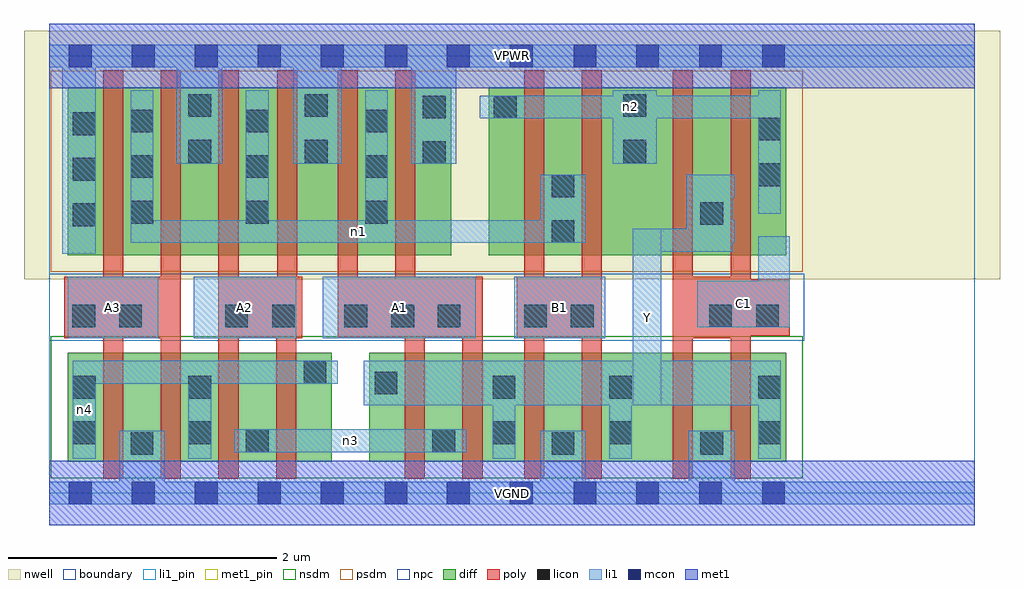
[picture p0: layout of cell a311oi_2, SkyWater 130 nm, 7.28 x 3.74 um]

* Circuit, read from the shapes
.subckt a311oi_2 A1 A2 A3 B1 C1 VGND VPWR Y n1 n2 n3 n4
XM1 VGND A3 n4 VSUBS sky130_fd_pr__nfet_01v8 w=0.81 l=0.15 m=2
XM2 n3 A2 n4 VSUBS sky130_fd_pr__nfet_01v8 w=0.81 l=0.15 m=2
XM3 n3 A1 Y VSUBS sky130_fd_pr__nfet_01v8 w=0.81 l=0.15 m=2
XM4 VGND B1 Y VSUBS sky130_fd_pr__nfet_01v8 w=0.81 l=0.15 m=2
XM5 VGND C1 Y VSUBS sky130_fd_pr__nfet_01v8 w=0.81 l=0.15 m=2
XM6 n1 A3 VPWR n5 sky130_fd_pr__pfet_01v8 w=1.25 l=0.15 m=2
XM7 n1 A2 VPWR n5 sky130_fd_pr__pfet_01v8 w=1.25 l=0.15 m=2
XM8 n1 A1 VPWR n5 sky130_fd_pr__pfet_01v8 w=1.25 l=0.15 m=2
XM9 n1 B1 n2 n5 sky130_fd_pr__pfet_01v8 w=1.25 l=0.15 m=2
XM10 Y C1 n2 n5 sky130_fd_pr__pfet_01v8 w=1.25 l=0.15 m=2
.ends

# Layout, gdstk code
import gdstk
lib = gdstk.Library(unit=1e-6, precision=1e-09)
def R(c, l, rs):  # rectangles x0, y0, x1, y1
    for r in rs: c.add(gdstk.rectangle(r[:2], r[2:], *l))
def A(c, l, x, y, w, h, nx, ny, dx, dy):  # array of equal rectangles
    R(c, l, [(x+i*dx, y+j*dy, x+i*dx+w, y+j*dy+h) for i in range(nx) for j in range(ny)])
nwell = (64, 20)
diff = (65, 20)
poly = (66, 20)
licon = (66, 44)
li1_pin = (67, 16)
li1 = (67, 20)
mcon = (67, 44)
met1_pin = (68, 16)
met1 = (68, 20)
nsdm = (93, 44)
psdm = (94, 20)
npc = (95, 20)
boundary = (235, 4)

a311oi_2 = lib.new_cell('a311oi_2')
R(a311oi_2, nwell, [(-0.19,1.595,7.09,3.45), (0,1.595,6.9,3.45)])
R(a311oi_2, diff, [(0.135,0.235,2.105,1.045), (2.385,0.235,5.495,1.045), (0.135,1.775,2.995,3.025), (3.275,1.775,5.495,3.025)])
A(a311oi_2, poly, 0.4, 0.105, 0.15, 3.05, 3, 1, 0.43, 0)
R(a311oi_2, poly, [(1.69,0.105,1.84,1.615), (2.65,0.105,2.8,1.615), (3.08,0.105,3.23,1.615), (3.54,0.105,3.69,3.155), (3.97,0.105,4.12,3.155), (4.65,0.105,4.8,3.155), (5.08,0.105,5.23,3.155), (0.11,1.155,0.98,1.615), (1.26,1.155,1.885,1.615), (1.7,1.155,1.85,3.155), (2.15,1.155,2.3,3.155), (2.15,1.155,3.23,1.615), (2.58,1.155,2.73,3.155), (3.485,1.155,4.12,1.615), (4.65,1.155,5.23,1.615), (4.65,1.175,5.52,1.595)])
A(a311oi_2, licon, 0.175, 1.99, 0.17, 0.17, 1, 3, 0, 0.34)
A(a311oi_2, licon, 0.605, 2.01, 0.17, 0.17, 1, 3, 0, 0.34)
A(a311oi_2, licon, 1.465, 2.01, 0.17, 0.17, 1, 3, 0, 0.34)
A(a311oi_2, licon, 2.355, 2.01, 0.17, 0.17, 1, 3, 0, 0.34)
R(a311oi_2, licon, [(0.605,0.285,0.775,0.455), (3.745,0.285,3.915,0.455), (4.855,0.285,5.025,0.455), (1.465,0.305,1.635,0.475), (2.855,0.305,3.025,0.475), (0.175,0.365,0.345,0.535), (1.035,0.365,1.205,0.535), (3.305,0.365,3.475,0.535), (4.175,0.365,4.345,0.535), (5.285,0.365,5.455,0.535), (0.175,0.705,0.345,0.875), (1.035,0.705,1.205,0.875), (3.305,0.705,3.475,0.875), (4.175,0.705,4.345,0.875), (5.285,0.705,5.455,0.875), (2.425,0.735,2.595,0.905), (1.895,0.815,2.065,0.985), (0.17,1.235,0.34,1.405), (0.52,1.235,0.69,1.405), (1.31,1.235,1.48,1.405), (1.66,1.235,1.83,1.405), (2.2,1.235,2.37,1.405), (2.55,1.235,2.72,1.405), (2.895,1.235,3.065,1.405), (3.54,1.235,3.71,1.405), (3.89,1.235,4.06,1.405), (4.92,1.235,5.09,1.405), (5.27,1.235,5.44,1.405), (3.745,1.865,3.915,2.035), (4.855,2,5.025,2.17), (3.745,2.205,3.915,2.375), (5.285,2.29,5.455,2.46), (2.785,2.455,2.955,2.625), (1.035,2.465,1.205,2.635), (1.905,2.465,2.075,2.635), (4.28,2.465,4.45,2.635), (5.285,2.63,5.455,2.8), (2.785,2.795,2.955,2.965), (3.315,2.795,3.485,2.965), (1.035,2.805,1.205,2.975), (1.905,2.805,2.075,2.975), (4.28,2.805,4.45,2.975)])
R(a311oi_2, li1_pin, [(4.35,0.655,4.565,1.97), (0.135,1.155,0.81,1.615), (1.075,1.155,1.84,1.615), (2.04,1.155,3.18,1.615), (3.465,1.155,4.145,1.615), (4.83,1.235,5.52,1.585)])
R(a311oi_2, li1, [(0,-0.085,6.9,0.085), (0.52,-0.085,0.86,0.465), (3.66,-0.085,4,0.465), (4.77,-0.085,5.11,0.465), (0.175,0.255,0.345,0.985), (1.035,0.255,1.205,0.985), (3.305,0.255,3.475,0.985), (4.175,0.255,4.345,0.985), (5.285,0.255,5.455,0.985), (1.38,0.305,3.11,0.475), (2.345,0.655,5.455,0.985), (4.35,0.655,4.565,1.97), (0.175,0.815,2.15,0.985), (0.135,1.155,0.81,1.615), (1.075,1.155,1.84,1.615), (2.04,1.155,3.18,1.615), (3.465,1.155,4.145,1.615), (4.83,1.235,5.52,1.585), (5.285,1.235,5.52,1.915), (0.095,1.785,0.345,3.345), (4.35,1.8,5.095,1.97), (4.755,1.8,5.095,2.375), (0.605,1.865,4,2.035), (0.605,1.865,0.775,3.005), (1.465,1.865,1.635,3.005), (2.355,1.865,2.525,3.005), (3.66,1.865,4,2.375), (4.755,1.865,5.11,2.035), (5.285,2.085,5.455,3.005), (4.755,2.205,5.11,2.375), (0.95,2.455,1.29,3.345), (1.82,2.455,2.18,3.345), (2.7,2.455,3.035,3.345), (4.2,2.455,4.53,3.005), (3.21,2.795,5.455,2.965), (0,3.175,6.9,3.345)])
A(a311oi_2, mcon, 0.145, -0.085, 0.17, 0.17, 5, 2, 0.47, 3.26)
A(a311oi_2, mcon, 4.375, -0.085, 0.17, 0.17, 3, 2, 0.47, 3.26)
R(a311oi_2, mcon, [(2.5,-0.085,2.67,0.085), (2.965,-0.085,3.135,0.085), (3.435,-0.085,3.605,0.085), (3.91,-0.085,4.08,0.085), (2.5,3.175,2.67,3.345), (2.965,3.175,3.135,3.345), (3.435,3.175,3.605,3.345), (3.91,3.175,4.08,3.345)])
R(a311oi_2, met1_pin, [(0,-0.24,6.9,0.24), (0,3.02,6.9,3.5)])
R(a311oi_2, met1, [(0,-0.24,6.9,0.24), (0,3.02,6.9,3.5)])
R(a311oi_2, nsdm, [(0.01,0.11,5.62,1.17)])
R(a311oi_2, psdm, [(0.01,1.65,5.62,3.15)])
R(a311oi_2, npc, [(0,1.135,5.63,1.635)])
R(a311oi_2, boundary, [(0,0,6.9,3.26)])
a311oi_2.add(gdstk.Label('A1', (2.61,1.385), layer=67, texttype=5))
a311oi_2.add(gdstk.Label('A2', (1.457,1.385), layer=67, texttype=5))
a311oi_2.add(gdstk.Label('A3', (0.472,1.385), layer=67, texttype=5))
a311oi_2.add(gdstk.Label('B1', (3.805,1.385), layer=67, texttype=5))
a311oi_2.add(gdstk.Label('C1', (5.175,1.41), layer=67, texttype=5))
a311oi_2.add(gdstk.Label('Y', (4.457,1.312), layer=67, texttype=5))
a311oi_2.add(gdstk.Label('n3', (2.245,0.39), layer=67, texttype=5))
a311oi_2.add(gdstk.Label('n4', (0.26,0.62), layer=67, texttype=5))
a311oi_2.add(gdstk.Label('n1', (2.302,1.95), layer=67, texttype=5))
a311oi_2.add(gdstk.Label('n2', (4.332,2.88), layer=67, texttype=5))
a311oi_2.add(gdstk.Label('VPWR', (3.45,3.26), layer=68, texttype=5))
a311oi_2.add(gdstk.Label('VGND', (3.45,0), layer=68, texttype=5))
a311oi_2.add(gdstk.Label('A1', (2.61,1.385), layer=67, texttype=16))
a311oi_2.add(gdstk.Label('A2', (1.457,1.385), layer=67, texttype=16))
a311oi_2.add(gdstk.Label('A3', (0.472,1.385), layer=67, texttype=16))
a311oi_2.add(gdstk.Label('B1', (3.805,1.385), layer=67, texttype=16))
a311oi_2.add(gdstk.Label('C1', (5.175,1.41), layer=67, texttype=16))
a311oi_2.add(gdstk.Label('Y', (4.457,1.312), layer=67, texttype=16))
a311oi_2.add(gdstk.Label('VPWR', (3.45,3.26), layer=68, texttype=16))
a311oi_2.add(gdstk.Label('VGND', (3.45,0), layer=68, texttype=16))

lib.write_gds('a311oi_2.gds')
